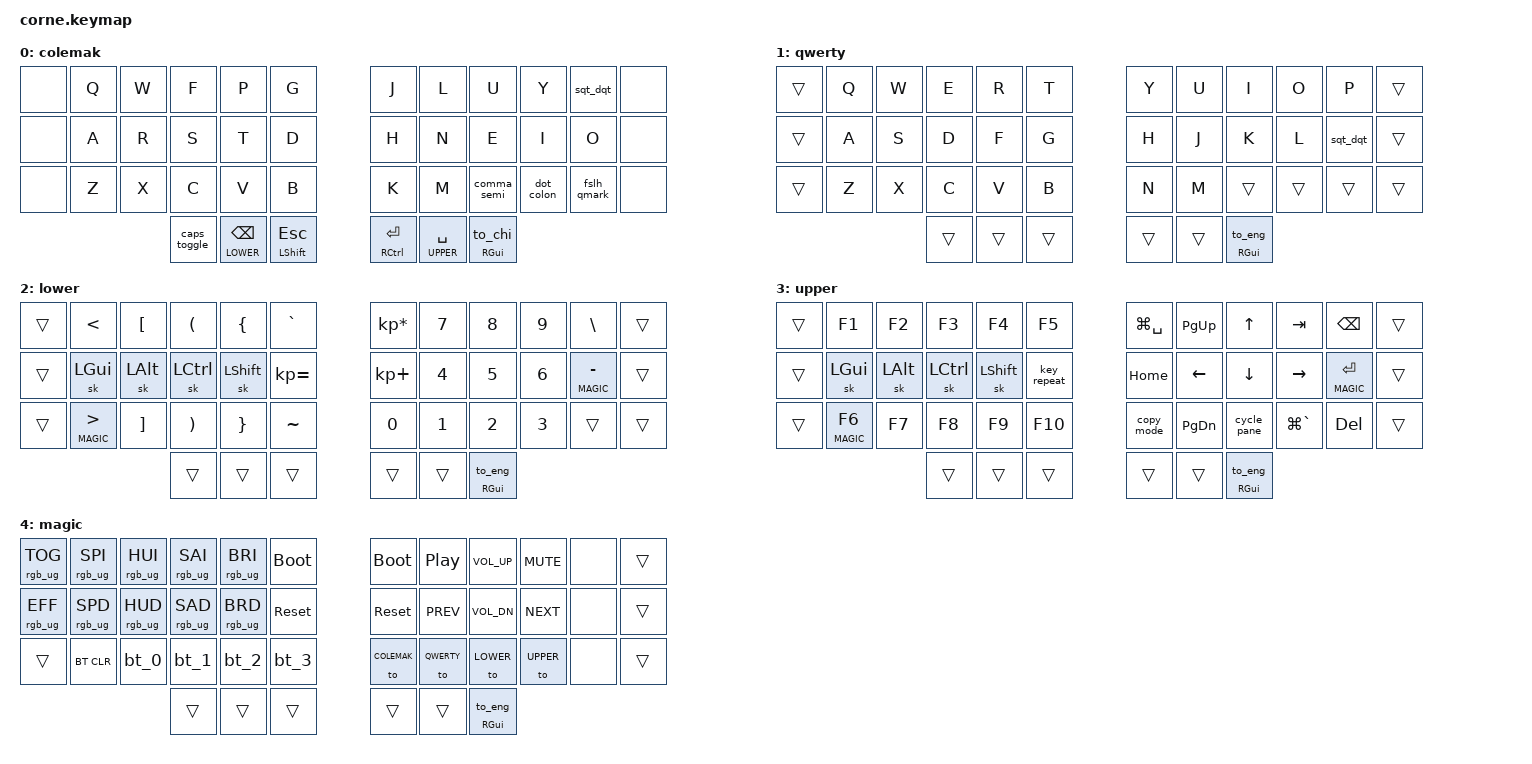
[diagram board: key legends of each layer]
/*
 * Copyright (c) 2020 The ZMK Contributors
 *
 * SPDX-License-Identifier: MIT
 */

#include <behaviors.dtsi>
#include <dt-bindings/zmk/keys.h>
#include <dt-bindings/zmk/bt.h>
#include <dt-bindings/zmk/ext_power.h>
#include <dt-bindings/zmk/outputs.h>
#include <dt-bindings/zmk/rgb.h>

// layers
#define COLEMAK 0
#define QWERTY  1
#define LOWER   2
#define UPPER   3
#define MAGIC   4

&led_strip {
  chain-length = <27>;
};

/ {
    macros {
        bt_0: bt_profile_macro_0 {
            compatible = "zmk,behavior-macro";
            #binding-cells = <0>;
            bindings = <&out OUT_BLE>, <&bt BT_SEL 0>;
        };

        bt_1: bt_profile_macro_1 {
            compatible = "zmk,behavior-macro";
            #binding-cells = <0>;
            bindings = <&out OUT_BLE>, <&bt BT_SEL 1>;
        };

        bt_2: bt_profile_macro_2 {
            compatible = "zmk,behavior-macro";
            #binding-cells = <0>;
            bindings = <&out OUT_BLE>, <&bt BT_SEL 2>;
        };

        bt_3: bt_profile_macro_3 {
            compatible = "zmk,behavior-macro";
            #binding-cells = <0>;
            bindings = <&out OUT_BLE>, <&bt BT_SEL 3>;
        };

        to_chi: to_chi_macro {
            compatible = "zmk,behavior-macro";
            #binding-cells = <0>;
            bindings = <&kp LC(SPACE)>, <&to QWERTY>;
        };

        to_eng: to_eng_macro {
            compatible = "zmk,behavior-macro";
            #binding-cells = <0>;
            bindings = <&kp LC(SPACE)>, <&to COLEMAK>;
        };

        copy_mode: copy_mode_macro {
            compatible = "zmk,behavior-macro";
            #binding-cells = <0>;
            bindings = <&kp GRAVE>, <&kp LBKT>;
        };

        cycle_pane: cycle_pane_macro {
            compatible = "zmk,behavior-macro";
            #binding-cells = <0>;
            bindings = <&kp GRAVE>, <&kp TAB>;
        };
    };

    combos {
        compatible = "zmk,combos";
        combo_to_chi {
            timeout-ms = <100>;
            key-positions = <38 39>;
            layers = <0>;
            bindings = <&to_chi>;
        };
        combo_to_eng {
            timeout-ms = <100>;
            key-positions = <38 39>;
            layers = <1>;
            bindings = <&to_eng>;
        };
    };

    behaviors {
        caps_toggle: tap_dance_caps_toggle {
            compatible = "zmk,behavior-tap-dance";
            #binding-cells = <0>;
            bindings = <&caps_word>, <&kp LS(CAPS)>;
        };
        chi_ht: chi_ht {
            compatible = "zmk,behavior-hold-tap";
            #binding-cells = <2>;
            flavor = "hold-preferred";
            tapping-term-ms = <200>;
            bindings = <&kp>, <&to_chi>;
        };
        eng_ht: eng_ht {
            compatible = "zmk,behavior-hold-tap";
            #binding-cells = <2>;
            flavor = "hold-preferred";
            tapping-term-ms = <200>;
            bindings = <&kp>, <&to_eng>;
        };
        comma_semi: comma_semi {
            compatible = "zmk,behavior-mod-morph";
            #binding-cells = <0>;
            bindings = <&kp COMMA>, <&kp SEMI>;
            mods = <(MOD_LSFT|MOD_RSFT)>;
        };
        dot_colon: dot_colon {
            compatible = "zmk,behavior-mod-morph";
            #binding-cells = <0>;
            bindings = <&kp DOT>, <&kp COLON>;
            mods = <(MOD_LSFT|MOD_RSFT)>;
        };
        sqt_dqt: sqt_dqt {
            compatible = "zmk,behavior-mod-morph";
            #binding-cells = <0>;
            bindings = <&kp SQT>, <&kp DQT>;
            mods = <(MOD_LSFT|MOD_RSFT)>;
        };
        fslh_qmark: fslh_qmark {
            compatible = "zmk,behavior-mod-morph";
            #binding-cells = <0>;
            bindings = <&kp FSLH>, <&kp QMARK>;
            mods = <(MOD_LSFT|MOD_RSFT)>;
        };
    };

    keymap {
        compatible = "zmk,keymap";

        colemak_layer {
            display-name = "colemak";
            // ---------------------------------------------------------------------
            // |  Q  |  W  |  F  |  P  |  G  ||  J  |  L   |   U   |   Y   | ' _ " |
            // |  A  |  R  |  S  |  T  |  D  ||  H  |  N   |   E   |   I   |   O   |
            // |  Z  |  X  |  C  |  V  |  B  ||  K  |  M   | , _ ; | . _ : | / _ ? |
            bindings = <
                &none  &kp Q  &kp W  &kp F  &kp P  &kp G    &kp J  &kp L  &kp U        &kp Y       &sqt_dqt     &none
                &none  &kp A  &kp R  &kp S  &kp T  &kp D    &kp H  &kp N  &kp E        &kp I       &kp O        &none
                &none  &kp Z  &kp X  &kp C  &kp V  &kp B    &kp K  &kp M  &comma_semi  &dot_colon  &fslh_qmark  &none
               &caps_toggle &lt LOWER BSPC &mt LSHFT ESC    &mt RCTL RET &lt UPPER SPACE &chi_ht RGUI 0
            >;
        };

        qwerty_layer {
            display-name = "qwerty";
            // ---------------------------------------------------------------------
            // |  Q  |  W  |  E  |  R  |  T  ||  Y  |  U   |   I   |   O   |   P   |
            // |  A  |  S  |  D  |  F  |  G  ||  H  |  J   |   K   |   L   | ' _ " |
            // |  Z  |  X  |  C  |  V  |  B  ||  N  |  M   | , _ ; | . _ : | / _ ? |
            bindings = <
                &trans  &kp Q  &kp W  &kp E  &kp R  &kp T    &kp Y  &kp U  &kp I   &kp O   &kp P     &trans
                &trans  &kp A  &kp S  &kp D  &kp F  &kp G    &kp H  &kp J  &kp K   &kp L   &sqt_dqt  &trans
                &trans  &kp Z  &kp X  &kp C  &kp V  &kp B    &kp N  &kp M  &trans  &trans  &trans    &trans
                                     &trans &trans &trans    &trans &trans &eng_ht RGUI 0
            >;
        };

        lower_layer {
            display-name = "lower";
            // -------------------------------------------------------------------------
            // |  <  |  [  |  (   |  {   |  `  ||  *  | 7 _ & | 8 _ * | 9 _ ( | \ _ |  |
            // | GUI | ALT | CTRL | SHFT |  =  ||  +  | 4 _ $ | 5 _ % | 6 _ ^ | - _ MG |
            // |  >  |  ]  |  )   |  }   |  ~  ||  0  | 1 _ ! | 2 _ @ | 3 _ # | / _ ?  |
            bindings = <
                &trans  &kp LT        &kp LBKT  &kp LPAR   &kp LBRC   &kp GRAVE       &kp KP_MULTIPLY   &kp N7  &kp N8  &kp N9  &kp BSLH         &trans
                &trans  &sk LGUI      &sk LALT  &sk LCTRL  &sk LSHFT  &kp KP_EQUAL    &kp KP_PLUS       &kp N4  &kp N5  &kp N6  &lt MAGIC MINUS  &trans
                &trans  &lt MAGIC GT  &kp RBKT  &kp RPAR   &kp RBRC   &kp TILDE       &kp N0            &kp N1  &kp N2  &kp N3  &trans           &trans
                                                              &trans &trans &trans    &trans &trans &eng_ht RGUI 0
            >;
        };

        upper_layer {
            display-name = "upper";
            // ------------------------------------------------------------------------------------
            // |   F1    | F2  |  F3  |  F4  |  F5    || G+SPC | PG_UP |   UP  |  TAB  |   BSPC   |
            // |   GUI   | ALT | CTRL | SHFT | REPEAT || HOME  | LEFT  |  DOWN | RIGHT | END _ MG |
            // | F6 _ MG | F7  |  F8  |  F9  |  F10   ||  `+[  | PG_DN | `+TAB |  G+`  |   DEL    |
            bindings = <
                &trans  &kp F1        &kp F2    &kp F3     &kp F4     &kp F5         &kp LG(SPACE)  &kp PG_UP  &kp UP       &kp TAB        &kp BSPC       &trans
                &trans  &sk LGUI      &sk LALT  &sk LCTRL  &sk LSHFT  &key_repeat    &kp HOME       &kp LEFT   &kp DOWN     &kp RIGHT      &lt MAGIC RET  &trans
                &trans  &lt MAGIC F6  &kp F7    &kp F8     &kp F9     &kp F10        &copy_mode     &kp PG_DN  &cycle_pane  &kp LG(GRAVE)  &kp DEL        &trans
                                                             &trans &trans &trans    &trans &trans &eng_ht RGUI 0
            >;
        };

        magic_layer {
            display-name = "magic";
            bindings = <
                &rgb_ug RGB_TOG  &rgb_ug RGB_SPI  &rgb_ug RGB_HUI  &rgb_ug RGB_SAI  &rgb_ug RGB_BRI  &bootloader    &bootloader  &kp C_PP    &kp C_VOL_UP  &kp C_MUTE  &none  &trans
                &rgb_ug RGB_EFF  &rgb_ug RGB_SPD  &rgb_ug RGB_HUD  &rgb_ug RGB_SAD  &rgb_ug RGB_BRD  &sys_reset     &sys_reset   &kp C_PREV  &kp C_VOL_DN  &kp C_NEXT  &none  &trans
                &trans           &bt BT_CLR       &bt_0            &bt_1            &bt_2            &bt_3          &to COLEMAK  &to QWERTY  &to LOWER     &to UPPER   &none  &trans
                                                                                            &trans &trans &trans    &trans &trans &eng_ht RGUI 0
            >;
        };
    };
};
